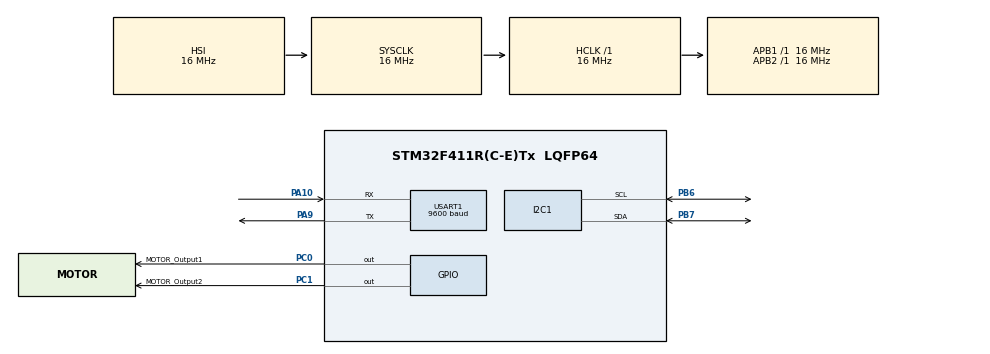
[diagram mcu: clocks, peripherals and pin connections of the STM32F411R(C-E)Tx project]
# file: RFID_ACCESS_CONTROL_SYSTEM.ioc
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Mcu.Family=STM32F4
Mcu.Name=STM32F411R(C-E)Tx
Mcu.Package=LQFP64
NVIC.PriorityGroup=NVIC_PRIORITYGROUP_4
NVIC.USART1_IRQn=true\:0\:0\:false\:false\:true\:true\:true\:true
PA10.Mode=Asynchronous
PA10.Signal=USART1_RX
PA9.Mode=Asynchronous
PA9.Signal=USART1_TX
PB6.Mode=I2C
PB6.Signal=I2C1_SCL
PB7.Mode=I2C
PB7.Signal=I2C1_SDA
PC0.GPIO_Label=MOTOR_Output1
PC0.Signal=GPIO_Output
PC1.GPIO_Label=MOTOR_Output2
PC1.Signal=GPIO_Output
ProjectManager.HeapSize=0x200
ProjectManager.StackSize=0x400
ProjectManager.TargetToolchain=STM32CubeIDE
RCC.AHBFreq_Value=16000000
RCC.APB1Freq_Value=16000000
RCC.APB2Freq_Value=16000000
RCC.CortexFreq_Value=16000000
RCC.HSE_VALUE=25000000
RCC.HSI_VALUE=16000000
RCC.LSE_VALUE=32768
RCC.SYSCLKFreq_VALUE=16000000
RCC.VCOOutputFreq_Value=192000000
RTC.Date=27
RTC.Format=RTC_FORMAT_BIN
RTC.Hours=15
RTC.Minutes=59
RTC.Month=RTC_MONTH_DECEMBER
RTC.Seconds=45
RTC.WeekDay=RTC_WEEKDAY_TUESDAY
RTC.Year=22
USART1.BaudRate=9600
USART1.VirtualMode=VM_ASYNC
VP_RTC_VS_RTC_Activate.Mode=RTC_Enabled
VP_RTC_VS_RTC_Calendar.Mode=RTC_Calendar
board=custom

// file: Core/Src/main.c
/* USER CODE BEGIN Header */
/**
  ******************************************************************************
  * @file           : main.c
  * @brief          : Main program body
  ******************************************************************************
  * @attention
  *
  * Copyright (c) 2022 STMicroelectronics.
  * All rights reserved.
  *
  * This software is licensed under terms that can be found in the LICENSE file
  * in the root directory of this software component.
  * If no LICENSE file comes with this software, it is provided AS-IS.
  *
  ******************************************************************************
  */
/* USER CODE END Header */
#include<stdio.h>
#include "main.h"
#include"lcd.h"
#include<string.h>

I2C_HandleTypeDef hi2c1;

RTC_HandleTypeDef hrtc;
RTC_TimeTypeDef sTime;
RTC_DateTypeDef sDate;

UART_HandleTypeDef huart1;

/* USER CODE BEGIN PV */
void settime_init(void);
/* USER CODE END PV */

void SystemClock_Config(void);
static void MX_GPIO_Init(void);
static void MX_I2C1_Init(void);
static void MX_RTC_Init(void);
static void MX_USART1_UART_Init(void);
/* USER CODE BEGIN PFP */
#define TRUE 1
#define FALSE 0
/* USER CODE END PFP */

/* USER CODE BEGIN 0 */
char *USER_DATA="Sankalp!";
uint8_t recvd_data;
uint8_t data_buf[50];
uint8_t count=0;
uint8_t rec_comp_data=FALSE;
char str[20];
char *buffer[15];
/* USER CODE END 0 */
char buffer1[15];
char buffer2[15];
int main(void)
{

  /* MCU Configuration--------------------------------------------------------*/

  /* Reset of all peripherals, Initializes the Flash interface and the Systick. */
  HAL_Init();
  LCD_init();

  /* Configure the system clock */
  SystemClock_Config();

  /* Initialize all configured peripherals */
  MX_GPIO_Init();
  MX_I2C1_Init();
  MX_RTC_Init();
  MX_USART1_UART_Init();
  /* USER CODE BEGIN 2 */
	//  SET TIME
	  sTime.Hours = 15;
	  sTime.Minutes = 59;
	  sTime.Seconds = 45;
	  HAL_RTC_SetTime(&hrtc, &sTime, RTC_FORMAT_BIN);

	//  SET DATE
	  sDate.Date = 26;
	  sDate.Month = RTC_MONTH_DECEMBER;
	  sDate.WeekDay = RTC_WEEKDAY_MONDAY;
	  sDate.Year = 22;
	  HAL_RTC_SetDate(&hrtc, &sDate, RTC_FORMAT_BIN);
  /* USER CODE END 2 */

  /* Infinite loop */
  while (1)
  {
	  HAL_RTC_GetTime(&hrtc, &sTime, RTC_FORMAT_BIN);
	  sprintf (buffer1, "%02d:%02d:%02d", sTime.Hours, sTime.Minutes, sTime.Seconds);
	  HAL_RTC_GetDate(&hrtc, &sDate, RTC_FORMAT_BIN);
	  sprintf (buffer2, "%02d-%02d-20%02d", sDate.Date, sDate.Month, sDate.Year);
	  HAL_Delay(200);
	  if(HAL_GPIO_ReadPin(GPIOA, 10) == 0)
	  {
		  uint16_t len_of_data=strlen(USER_DATA);
//		  HAL_UART_Transmit(&huart1, (uint8_t*)USER_DATA,len_of_data, HAL_MAX_DELAY);
		  while(rec_comp_data != TRUE)
		  {
			  HAL_UART_Receive_IT(&huart1,&recvd_data,1);
		  }
	  }
  }
}

void HAL_UART_RxCpltCallback(UART_HandleTypeDef *huart)
{
	int z=0;
	data_buf[count++]=recvd_data;
	while(z<2)
	{
		strcpy(str,data_buf);
		z=z+1;
	}
	if(strcmp(str,"18")==0)
	{
		LCD_command(1);
		LCD_string("WELCOME ON BOARD");
		LCD_command(0xC4);
		LCD_string("SANKALP!");
		delay(1000);
		LCD_command(1);
		LCD_command(0x83);
		LCD_string("LOGIN TIME");
		LCD_command(0xC4);
		LCD_string(buffer1);
		delay(1000);
		LCD_command(1);
		LCD_command(0x83);
		LCD_string("LOGIN TIME");
		LCD_command(0xC4);
		LCD_string(buffer2);
		delay(1000);
		for(int i=0;i<z;i++)
		{
			strcpy(str,0);
		}
		z=0;
		LCD_command(1);
//		MOTOR_Init();
	}
	else if(strcmp(str,"3E")==0)
	{
		LCD_command(1);
		LCD_string("WELCOME ON BOARD");
		LCD_command(0xC4);
		LCD_string("NARESH!");
		delay(1000);
		LCD_command(1);
		LCD_command(0x83);
		LCD_string("LOGIN TIME");
		LCD_command(0xC4);
		LCD_string(buffer1);
		delay(1000);
		LCD_command(1);
		LCD_command(0x83);
		LCD_string("LOGIN TIME");
		LCD_command(0xC4);
		LCD_string(buffer2);
		delay(1000);
		for(int i=0;i<z;i++)
		{
			strcpy(str,0);
		}
		z=0;
		LCD_command(1);
//		MOTOR_Init();
	}
	else if(strcmp(str,"55")==0)
	{
		LCD_command(1);
		LCD_string("WELCOME ON BOARD");
		LCD_command(0xC4);
		LCD_string("SANDEEP!");
		delay(1000);
		LCD_command(1);
		LCD_command(0x83);
		LCD_string("LOGIN TIME");
		LCD_command(0xC4);
		LCD_string(buffer1);
		delay(1000);
		LCD_command(1);
		LCD_command(0x83);
		LCD_string("LOGIN TIME");
		LCD_command(0xC4);
		LCD_string(buffer2);
		delay(1000);
		for(int i=0;i<z;i++)
		{
			strcpy(str,0);
		}
		z=0;
		LCD_command(1);
//		MOTOR_Init();
	}
}
void SystemClock_Config(void)
{
  RCC_OscInitTypeDef RCC_OscInitStruct = {0};
  RCC_ClkInitTypeDef RCC_ClkInitStruct = {0};

  /** Configure the main internal regulator output voltage
  */
  __HAL_RCC_PWR_CLK_ENABLE();
  __HAL_PWR_VOLTAGESCALING_CONFIG(PWR_REGULATOR_VOLTAGE_SCALE1);

  /** Initializes the RCC Oscillators according to the specified parameters
  * in the RCC_OscInitTypeDef structure.
  */
  RCC_OscInitStruct.OscillatorType = RCC_OSCILLATORTYPE_HSI|RCC_OSCILLATORTYPE_LSI;
  RCC_OscInitStruct.HSIState = RCC_HSI_ON;
  RCC_OscInitStruct.HSICalibrationValue = RCC_HSICALIBRATION_DEFAULT;
  RCC_OscInitStruct.LSIState = RCC_LSI_ON;
  RCC_OscInitStruct.PLL.PLLState = RCC_PLL_NONE;
  if (HAL_RCC_OscConfig(&RCC_OscInitStruct) != HAL_OK)
  {
    Error_Handler();
  }

  /** Initializes the CPU, AHB and APB buses clocks
  */
  RCC_ClkInitStruct.ClockType = RCC_CLOCKTYPE_HCLK|RCC_CLOCKTYPE_SYSCLK
                              |RCC_CLOCKTYPE_PCLK1|RCC_CLOCKTYPE_PCLK2;
  RCC_ClkInitStruct.SYSCLKSource = RCC_SYSCLKSOURCE_HSI;
  RCC_ClkInitStruct.AHBCLKDivider = RCC_SYSCLK_DIV1;
  RCC_ClkInitStruct.APB1CLKDivider = RCC_HCLK_DIV1;
  RCC_ClkInitStruct.APB2CLKDivider = RCC_HCLK_DIV1;

  if (HAL_RCC_ClockConfig(&RCC_ClkInitStruct, FLASH_LATENCY_0) != HAL_OK)
  {
    Error_Handler();
  }
}

static void MX_I2C1_Init(void)
{

  hi2c1.Instance = I2C1;
  hi2c1.Init.ClockSpeed = 100000;
  hi2c1.Init.DutyCycle = I2C_DUTYCYCLE_2;
  hi2c1.Init.OwnAddress1 = 0;
  hi2c1.Init.AddressingMode = I2C_ADDRESSINGMODE_7BIT;
  hi2c1.Init.DualAddressMode = I2C_DUALADDRESS_DISABLE;
  hi2c1.Init.OwnAddress2 = 0;
  hi2c1.Init.GeneralCallMode = I2C_GENERALCALL_DISABLE;
  hi2c1.Init.NoStretchMode = I2C_NOSTRETCH_DISABLE;
  if (HAL_I2C_Init(&hi2c1) != HAL_OK)
  {
    Error_Handler();
  }

}

static void MX_RTC_Init(void)
{

  RTC_TimeTypeDef sTime = {0};
  RTC_DateTypeDef sDate = {0};

  /** Initialize RTC Only
  */
  hrtc.Instance = RTC;
  hrtc.Init.HourFormat = RTC_HOURFORMAT_24;
  hrtc.Init.AsynchPrediv = 127;
  hrtc.Init.SynchPrediv = 255;
  hrtc.Init.OutPut = RTC_OUTPUT_DISABLE;
  hrtc.Init.OutPutPolarity = RTC_OUTPUT_POLARITY_HIGH;
  hrtc.Init.OutPutType = RTC_OUTPUT_TYPE_OPENDRAIN;
  if (HAL_RTC_Init(&hrtc) != HAL_OK)
  {
    Error_Handler();
  }

  /** Initialize RTC and set the Time and Date
  */
  sTime.Hours = 15;
  sTime.Minutes = 59;
  sTime.Seconds = 45;
  sTime.DayLightSaving = RTC_DAYLIGHTSAVING_NONE;
  sTime.StoreOperation = RTC_STOREOPERATION_RESET;
  if (HAL_RTC_SetTime(&hrtc, &sTime, RTC_FORMAT_BIN) != HAL_OK)
  {
    Error_Handler();
  }
  sDate.WeekDay = RTC_WEEKDAY_TUESDAY;
  sDate.Month = RTC_MONTH_DECEMBER;
  sDate.Date = 27;
  sDate.Year = 22;

  if (HAL_RTC_SetDate(&hrtc, &sDate, RTC_FORMAT_BIN) != HAL_OK)
  {
    Error_Handler();
  }

}

static void MX_USART1_UART_Init(void)
{

  huart1.Instance = USART1;
  huart1.Init.BaudRate = 9600;
  huart1.Init.WordLength = UART_WORDLENGTH_8B;
  huart1.Init.StopBits = UART_STOPBITS_1;
  huart1.Init.Parity = UART_PARITY_NONE;
  huart1.Init.Mode = UART_MODE_TX_RX;
  huart1.Init.HwFlowCtl = UART_HWCONTROL_NONE;
  huart1.Init.OverSampling = UART_OVERSAMPLING_16;
  if (HAL_UART_Init(&huart1) != HAL_OK)
  {
    Error_Handler();
  }

}

static void MX_GPIO_Init(void)
{
  GPIO_InitTypeDef GPIO_InitStruct = {0};

  /* GPIO Ports Clock Enable */
  __HAL_RCC_GPIOC_CLK_ENABLE();
  __HAL_RCC_GPIOA_CLK_ENABLE();
  __HAL_RCC_GPIOB_CLK_ENABLE();

  /*Configure GPIO pin Output Level */
  HAL_GPIO_WritePin(GPIOC, MOTOR_Output1_Pin|MOTOR_Output2_Pin, GPIO_PIN_RESET);

  /*Configure GPIO pins : MOTOR_Output1_Pin MOTOR_Output2_Pin */
  GPIO_InitStruct.Pin = MOTOR_Output1_Pin|MOTOR_Output2_Pin;
  GPIO_InitStruct.Mode = GPIO_MODE_OUTPUT_PP;
  GPIO_InitStruct.Pull = GPIO_NOPULL;
  GPIO_InitStruct.Speed = GPIO_SPEED_FREQ_LOW;
  HAL_GPIO_Init(GPIOC, &GPIO_InitStruct);

}

void Error_Handler(void)
{
  __disable_irq();
  while (1)
  {
  }
}
